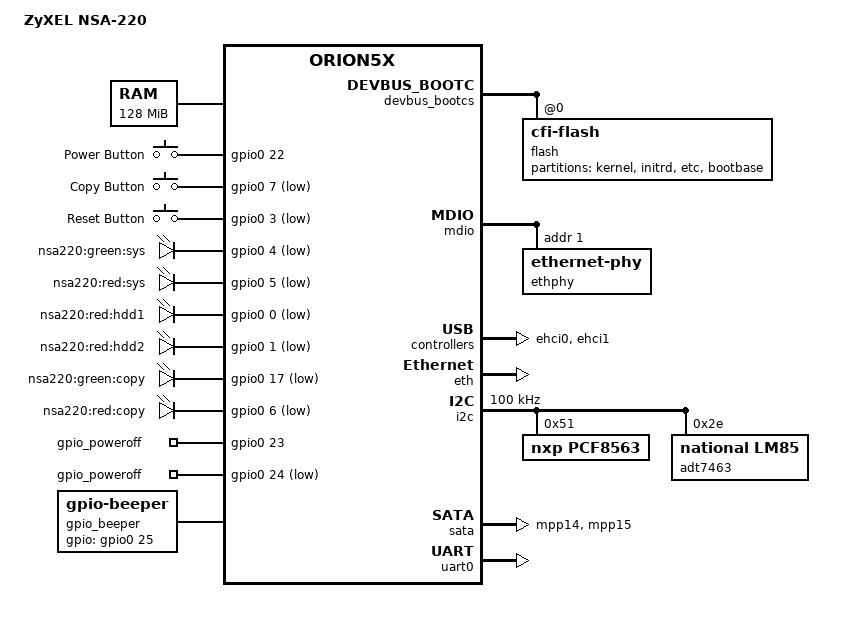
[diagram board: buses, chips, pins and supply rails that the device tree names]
/*
 * Copyright (C) 2014 Thomas Petazzoni <thomas.petazzoni@free-electrons.com>
 * Copyright (C) Indrek Ardel <indrek@ardel.eu>
 *
 * This file is licensed under the terms of the GNU General Public
 * License version 2. This program is licensed "as is" without any
 * warranty of any kind, whether express or implied.
 */

/dts-v1/;

#include <dt-bindings/gpio/gpio.h>
#include <dt-bindings/input/input.h>
#include <dt-bindings/interrupt-controller/irq.h>
#include "orion5x-mv88f5182.dtsi"

/ {
	model = "ZyXEL NSA-220";
	compatible = "zyxel,nsa-220", "marvell,orion5x-88f5182", "marvell,orion5x";

	memory {
		reg = <0x00000000 0x8000000>; /* 128 MB */
	};

	chosen {
		bootargs = "console=ttyS0,115200n8 earlyprintk";
		linux,stdout-path = &uart0;
	};

	soc {
		ranges = <MBUS_ID(0xf0, 0x01) 0 0xf1000000 0x100000>, /* Internal registers (SoC specific) */
			 <MBUS_ID(0x09, 0x00) 0 0xf2200000 0x800>, /* Cryptographic Engine SRAM (SoC specific) */
			 <MBUS_ID(0x01, 0x0f) 0 0xf8000000 0x1000000>; /* Boot CS (Board specific) */
	};

	gpio_keys {
		compatible = "gpio-keys";
		#address-cells = <1>;
		#size-cells = <0>;
		pinctrl-0 = <&pmx_btn_reset &pmx_btn_copy>;
		pinctrl-names = "default";

		button@1 {
			label = "Power Button";
			linux,code = <KEY_POWER>;
			gpios = <&gpio0 22 GPIO_ACTIVE_HIGH>;
		};
		button@2 {
			label = "Copy Button";
			linux,code = <KEY_COPY>;
			gpios = <&gpio0 7 GPIO_ACTIVE_LOW>;
		};
		button@3 {
			label = "Reset Button";
			linux,code = <KEY_RESTART>;
			gpios = <&gpio0 3 GPIO_ACTIVE_LOW>;
		};
	};

	gpio-leds {
		compatible = "gpio-leds";
		pinctrl-0 = <&pmx_led_hdd1_red &pmx_led_hdd2_red
		&pmx_led_sys_green &pmx_led_sys_red
		&pmx_led_copy_green &pmx_led_copy_red>;
		pinctrl-names = "default";

		green-sys {
			label = "nsa220:green:sys";
			gpios = <&gpio0 4 GPIO_ACTIVE_LOW>;
			default-state = "on";
		};
		red-sys {
			label = "nsa220:red:sys";
			gpios = <&gpio0 5 GPIO_ACTIVE_LOW>;
		};
		red-hdd1 {
			label = "nsa220:red:hdd1";
			gpios = <&gpio0 0 GPIO_ACTIVE_LOW>;
		};
		red-hdd2 {
			label = "nsa220:red:hdd2";
			gpios = <&gpio0 1 GPIO_ACTIVE_LOW>;
		};
		green-copy {
			label = "nsa220:green:copy";
			gpios = <&gpio0 17 GPIO_ACTIVE_LOW>;
		};
		red-copy {
			label = "nsa220:red:copy";
			gpios = <&gpio0 6 GPIO_ACTIVE_LOW>;
		};
	};

	gpio_poweroff {
		compatible = "gpio-poweroff";
		gpios = <&gpio0 23 GPIO_ACTIVE_HIGH>, <&gpio0 24 GPIO_ACTIVE_LOW>;
	};

	gpio_beeper {
		compatible = "gpio-beeper";
		gpios = <&gpio0 25 GPIO_ACTIVE_HIGH>;
	};
};

&devbus_bootcs {
	status = "okay";

	devbus,keep-config;

	flash@0 {
		compatible = "cfi-flash";
		reg = <0 0x1000000>;
		bank-width = <1>;
		#address-cells = <1>;
		#size-cells = <1>;

		partition@0 {
			label = "kernel";
			reg = <0x00000000 0x00220000>;
			read-only;
		};

		partition@220000 {
			label = "initrd";
			reg = <0x00220000 0x00ce0000>;
			read-only;
		};

		partition@f00000 {
			label = "etc";
			reg = <0x00f00000 0x000e0000>;
		};

		partition@fe0000 {
			label = "bootbase";
			reg = <0x00fe0000 0x00020000>;
			read-only;
		};
	};
};

&mdio {
	status = "okay";

	ethphy: ethernet-phy {
		reg = <1>;
	};
};

&ehci0 {
  status = "okay";
};

&ehci1 {
  status = "okay";
};

&eth {
	status = "okay";

	ethernet-port@0 {
		local-mac-address = [DE AD BE EF 12 34]; /* TODO: Remove later */
		phy-handle = <&ethphy>;
	};
};

&i2c {
	status = "okay";
	clock-frequency = <100000>;
	#address-cells = <1>;

	/* RTC with CMOS battery */
	pcf8563: pcf8563@51 {
		compatible = "nxp,pcf8563";
		reg = <0x51>;
	};

	/* ADT7463 Used for fan regulation */
	adt7463: adt7463@2e {
		compatible = "national,lm85";
		reg = <0x2e>;
	};
};

&pinctrl {
	pinctrl-0 = <	&pmx_mpp2_unknown &pmx_mpp8_unknown
								&pmx_mpp9_unknown &pmx_mpp10_unknown
								&pmx_mpp11_unknown &pmx_mpp16_unknown
								&pmx_mpp18_unknown &pmx_mpp19_unknown >;
	pinctrl-names = "default";

	pmx_led_hdd1_red: pmx-led-hdd1-red {
		marvell,pins = "mpp0";
		marvell,function = "gpio";
	};

	pmx_led_hdd2_red: pmx-led-hdd2-red {
		marvell,pins = "mpp1";
		marvell,function = "gpio";
	};

	/*
		TODO: Find out what is this for.
		mvBoardEnvSpec.h:1543 says it is GPIO
	 */
	pmx_mpp2_unknown: pmx-mpp2-unknown {
		marvell,pins = "mpp2";
		marvell,function = "gpio";
	};

	pmx_btn_reset: pmx-btn-reset {
		marvell,pins = "mpp3";
		marvell,function = "gpio";
	};

	pmx_led_sys_green: pmx-led-sys-green {
		marvell,pins = "mpp4";
		marvell,function = "gpio";
	};

	pmx_led_sys_red: pmx-led-sys-red {
		marvell,pins = "mpp5";
		marvell,function = "gpio";
	};

	pmx_led_copy_red: pmx-led-copy-red {
		marvell,pins = "mpp6";
		marvell,function = "gpio";
	};

	pmx_btn_copy: pmx-btn-copy {
		marvell,pins = "mpp7";
		marvell,function = "gpio";
	};

	/*
		TODO: Find out what is this for.
		mvBoardEnvSpec.h:1544 says it is GPIO
	*/
	pmx_mpp8_unknown: pmx-mpp8-unknown {
		marvell,pins = "mpp8";
		marvell,function = "gpio";
	};

	/*
		TODO: Find out what is this for.
		mvBoardEnvSpec.h:1544 says it is GPIO
	*/
	pmx_mpp9_unknown: pmx-mpp9-unknown {
		marvell,pins = "mpp9";
		marvell,function = "gpio";
	};

	/*
		TODO: Find out what is this for.
		mvBoardEnvSpec.h:1544 says it is GPIO
	*/
	pmx_mpp10_unknown: pmx-mpp10-unknown {
		marvell,pins = "mpp10";
		marvell,function = "gpio";
	};

	/*
		TODO: Find out what is this for.
		mvBoardEnvSpec.h:1544 says it is GPIO
	*/
	pmx_mpp11_unknown: pmx-mpp11-unknown {
		marvell,pins = "mpp11";
		marvell,function = "gpio";
	};

	pmx_sata0_led_active: pmx-sata0-led-active {
		marvell,pins = "mpp14";
		marvell,function = "sata0";
	};

	pmx_sata1_led_active: pmx-sata1-led-active {
		marvell,pins = "mpp15";
		marvell,function = "sata1";
	};

	/*
		TODO: Find out what is this for.
		mvBoardEnvSpec.h:1545 says it is GPIO
	*/
	pmx_mpp16_unknown: pmx-mpp16-unknown {
		marvell,pins = "mpp16";
		marvell,function = "gpio";
	};

	pmx_led_copy_green: pmx-led-copy-green {
		marvell,pins = "mpp17";
		marvell,function = "gpio";
	};

	/*
		TODO: Find out what is this for.
		mvBoardEnvSpec.h:1545 says it is GPIO
	*/
	pmx_mpp18_unknown: pmx-mpp18-unknown {
		marvell,pins = "mpp18";
		marvell,function = "gpio";
	};

	/*
		TODO: Find out what is this for.
		mvBoardEnvSpec.h:1545 says it is GPIO
	*/
	pmx_mpp19_unknown: pmx-mpp19-unknown {
		marvell,pins = "mpp19";
		marvell,function = "gpio";
	};
};

&sata {
	pinctrl-0 = <&pmx_sata0_led_active &pmx_sata1_led_active>;
	pinctrl-names = "default";
	status = "okay";
	nr-ports = <2>;
};

&uart0 {
	status = "okay";
};
